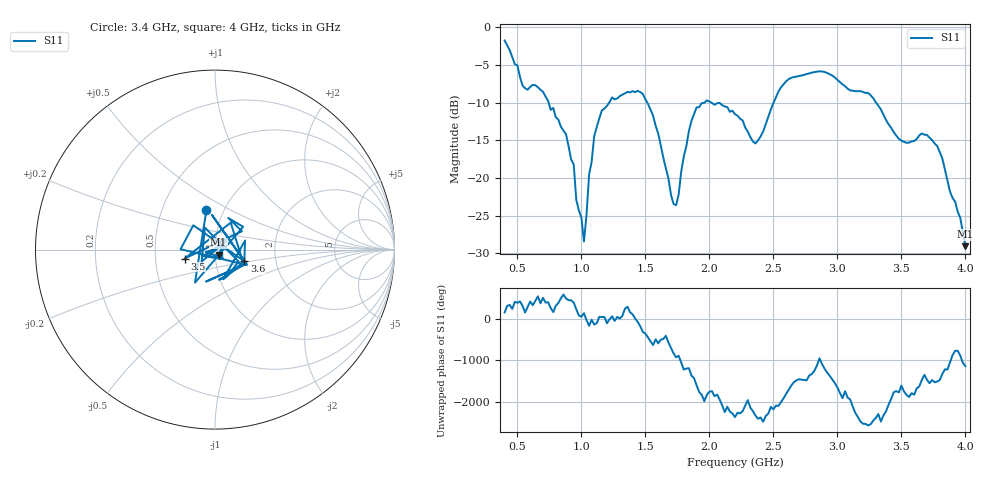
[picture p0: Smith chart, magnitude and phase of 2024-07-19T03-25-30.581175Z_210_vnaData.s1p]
!Created with skrf (http://scikit-rf.org).
# Hz S RI R 50.0
!freq ReS11 ImS11
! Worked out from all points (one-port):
!   181 points, 400 MHz to 4 GHz, reference 50 ohm
!   lowest |S11| = -29.0 dB at 4 GHz (marker M1), VSWR 1.07, Z = 52 - j3.02 ohm
!   |S11| at or under -10 dB: 743.9 MHz to 1.217 GHz (472.8 MHz wide, 48.2 % of centre); 2.015 GHz to 2.501 GHz (486.1 MHz wide, 21.5 % of centre); 3.302 GHz to end of sweep (the widest 3 of 4)
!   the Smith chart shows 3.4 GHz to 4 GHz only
!   S11 on the Smith chart (normalised r, x): 3.4 GHz: 0.83, +0.39; 3.5 GHz: 0.71, -0.07; 3.6 GHz: 1.38, -0.19; 4 GHz: 1.04, -0.06
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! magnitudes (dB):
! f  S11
! 400 MHz  -1.7
! 540 MHz  -7.7
! 700 MHz  -8.6
! 860 MHz  -13.7
! 940 MHz  -18.2
! 960 MHz  -22.9
! 1.02 GHz  -28.4
! 1.06 GHz  -19.5
! 1.1 GHz  -14.5
! 1.16 GHz  -11.0
! 1.3 GHz  -9.1
! 1.48 GHz  -8.8
! 1.6 GHz  -14.1
! 1.72 GHz  -23.5
! 1.76 GHz  -22.2
! 1.84 GHz  -13.7
! 1.9 GHz  -10.6
! 2.2 GHz  -11.5
! 2.36 GHz  -15.4
! 2.66 GHz  -6.6
! 3.1 GHz  -8.4
! 3.26 GHz  -9.0
! 3.4 GHz  -12.9
! 3.5 GHz  -15.0
! 3.56 GHz  -15.3
! 3.6 GHz  -15.1
! 3.78 GHz  -15.7
! 4 GHz  -29.0
